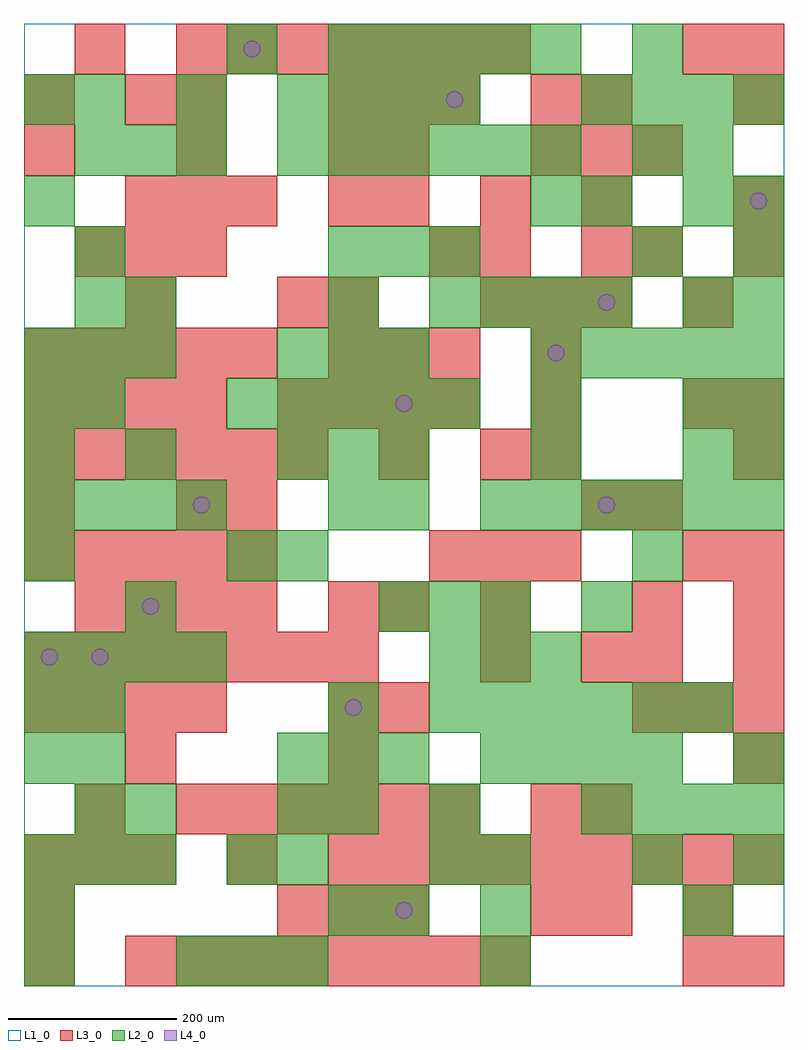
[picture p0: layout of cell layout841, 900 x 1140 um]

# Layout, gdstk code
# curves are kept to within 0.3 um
import gdstk
lib = gdstk.Library(unit=1e-6, precision=1e-09)
def R(c, l, rs):  # rectangles x0, y0, x1, y1
    for r in rs: c.add(gdstk.rectangle(r[:2], r[2:], *l))
def A(c, l, x, y, w, h, nx, ny, dx, dy):  # array of equal rectangles
    R(c, l, [(x+i*dx, y+j*dy, x+i*dx+w, y+j*dy+h) for i in range(nx) for j in range(ny)])
def P(c, l, *ps):  # polygons
    for p in ps: c.add(gdstk.Polygon(p, *l))
L1_0 = (1, 0)
L2_0 = (2, 0)
L3_0 = (3, 0)
L4_0 = (4, 0)

layout841 = lib.new_cell('layout841')
R(layout841, L1_0, [(0,0,900,1140)])
A(layout841, L2_0, 180, 0, 60, 60, 3, 1, 60, 0)
A(layout841, L2_0, 540, 0, 60, 60, 1, 3, 0, 60)
A(layout841, L2_0, 360, 60, 60, 60, 1, 3, 0, 120)
A(layout841, L2_0, 0, 120, 60, 60, 3, 2, 60, 600)
A(layout841, L2_0, 720, 120, 60, 60, 1, 3, 0, 360)
A(layout841, L2_0, 60, 180, 60, 60, 1, 3, 0, 60)
A(layout841, L2_0, 660, 180, 60, 60, 4, 2, 60, 840)
A(layout841, L2_0, 300, 240, 60, 60, 3, 2, 60, 360)
A(layout841, L2_0, 540, 240, 60, 60, 4, 1, 60, 0)
A(layout841, L2_0, 480, 300, 60, 60, 6, 1, 60, 0)
A(layout841, L2_0, 0, 360, 60, 60, 4, 2, 60, 180)
A(layout841, L2_0, 480, 360, 60, 60, 3, 1, 60, 0)
A(layout841, L2_0, 120, 420, 60, 60, 1, 3, 0, 180)
A(layout841, L2_0, 420, 420, 60, 60, 3, 1, 60, 0)
A(layout841, L2_0, 540, 540, 60, 60, 6, 1, 60, 0)
A(layout841, L2_0, 240, 660, 60, 60, 5, 1, 60, 0)
A(layout841, L2_0, 780, 660, 60, 60, 1, 3, 0, 120)
A(layout841, L2_0, 300, 720, 60, 60, 3, 1, 60, 0)
A(layout841, L2_0, 600, 720, 60, 60, 5, 1, 60, 0)
A(layout841, L2_0, 480, 780, 60, 60, 4, 1, 60, 0)
A(layout841, L2_0, 840, 780, 60, 60, 1, 3, 0, 60)
A(layout841, L2_0, 360, 840, 60, 60, 3, 2, 60, 180)
A(layout841, L2_0, 60, 960, 60, 60, 3, 1, 60, 0)
A(layout841, L2_0, 300, 960, 60, 60, 6, 1, 60, 0)
A(layout841, L2_0, 60, 1020, 60, 60, 3, 1, 120, 0)
A(layout841, L2_0, 360, 1080, 60, 60, 5, 1, 60, 0)
R(layout841, L2_0, [(0,0,60,60), (0,60,60,120), (420,60,480,120), (780,60,840,120), (240,120,300,180), (300,120,360,180), (480,120,540,180), (840,120,900,180), (120,180,180,240), (300,180,360,240), (480,180,540,240), (0,240,60,300), (840,240,900,300), (0,300,60,360), (660,420,720,480), (0,480,60,540), (240,480,300,540), (300,480,360,540), (360,540,420,600), (420,540,480,600), (0,600,60,660), (600,600,660,660), (780,600,840,660), (840,600,900,660), (0,660,60,720), (60,660,120,720), (600,660,660,720), (840,660,900,720), (60,780,120,840), (360,780,420,840), (60,840,120,900), (0,900,60,960), (600,900,660,960), (660,900,720,960), (720,960,780,1020), (780,960,840,1020), (0,1020,60,1080), (240,1080,300,1140), (720,1080,780,1140)])
A(layout841, L3_0, 120, 0, 60, 60, 8, 1, 60, 0)
A(layout841, L3_0, 0, 60, 60, 60, 1, 3, 0, 480)
A(layout841, L3_0, 300, 60, 60, 60, 3, 1, 60, 0)
A(layout841, L3_0, 0, 120, 60, 60, 3, 1, 60, 0)
A(layout841, L3_0, 360, 120, 60, 60, 9, 1, 60, 0)
A(layout841, L3_0, 180, 180, 60, 60, 6, 1, 60, 0)
A(layout841, L3_0, 660, 180, 60, 60, 1, 3, 0, 180)
A(layout841, L3_0, 0, 300, 60, 60, 4, 2, 60, 360)
A(layout841, L3_0, 720, 300, 60, 60, 3, 1, 60, 0)
A(layout841, L3_0, 0, 360, 60, 60, 7, 1, 60, 0)
A(layout841, L3_0, 840, 360, 60, 60, 1, 3, 0, 60)
A(layout841, L3_0, 60, 420, 60, 60, 4, 1, 60, 0)
A(layout841, L3_0, 0, 480, 60, 60, 5, 2, 60, 240)
A(layout841, L3_0, 480, 480, 60, 60, 3, 1, 60, 0)
A(layout841, L3_0, 0, 600, 60, 60, 6, 1, 60, 0)
A(layout841, L3_0, 600, 600, 60, 60, 1, 3, 0, 60)
A(layout841, L3_0, 300, 660, 60, 60, 4, 1, 60, 0)
A(layout841, L3_0, 360, 720, 60, 60, 3, 2, 60, 300)
A(layout841, L3_0, 540, 780, 60, 60, 3, 1, 60, 0)
A(layout841, L3_0, 60, 840, 60, 60, 3, 1, 60, 0)
A(layout841, L3_0, 120, 900, 60, 60, 3, 1, 60, 0)
A(layout841, L3_0, 420, 900, 60, 60, 3, 1, 120, 0)
A(layout841, L3_0, 0, 960, 60, 60, 3, 1, 180, 0)
A(layout841, L3_0, 600, 960, 60, 60, 3, 1, 60, 0)
A(layout841, L3_0, 180, 1080, 60, 60, 7, 1, 60, 0)
R(layout841, L3_0, [(0,0,60,60), (780,0,840,60), (840,0,900,60), (600,60,660,120), (660,60,720,120), (780,60,840,120), (240,120,300,180), (60,180,120,240), (600,180,660,240), (120,240,180,300), (360,240,420,300), (840,240,900,300), (360,300,420,360), (420,300,480,360), (540,360,600,420), (720,360,780,420), (360,420,420,480), (420,420,480,480), (540,420,600,480), (720,420,780,480), (780,480,840,540), (180,540,240,600), (240,540,300,600), (720,540,780,600), (420,600,480,660), (540,600,600,660), (840,600,900,660), (780,660,840,720), (840,660,900,720), (120,780,180,840), (300,780,360,840), (360,780,420,840), (780,780,840,840), (480,840,540,900), (540,840,600,900), (660,840,720,900), (720,840,780,900), (840,840,900,900), (360,900,420,960), (840,900,900,960), (420,960,480,1020), (120,1020,180,1080), (180,1020,240,1080), (600,1020,660,1080), (660,1020,720,1080), (840,1020,900,1080), (60,1080,120,1140), (780,1080,840,1140), (840,1080,900,1140)])
P(layout841, L4_0, [(40,390),(39.239,393.827),(37.071,397.071),(33.827,399.239),(30,400),(26.173,399.239),(22.929,397.071),(20.761,393.827),(20,390),(20.761,386.173),(22.929,382.929),(26.173,380.761),(30,380),(33.827,380.761),(37.071,382.929),(39.239,386.173)],
  [(100,390),(99.239,393.827),(97.071,397.071),(93.827,399.239),(90,400),(86.173,399.239),(82.929,397.071),(80.761,393.827),(80,390),(80.761,386.173),(82.929,382.929),(86.173,380.761),(90,380),(93.827,380.761),(97.071,382.929),(99.239,386.173)],
  [(160,450),(159.239,453.827),(157.071,457.071),(153.827,459.239),(150,460),(146.173,459.239),(142.929,457.071),(140.761,453.827),(140,450),(140.761,446.173),(142.929,442.929),(146.173,440.761),(150,440),(153.827,440.761),(157.071,442.929),(159.239,446.173)],
  [(220,570),(219.239,573.827),(217.071,577.071),(213.827,579.239),(210,580),(206.173,579.239),(202.929,577.071),(200.761,573.827),(200,570),(200.761,566.173),(202.929,562.929),(206.173,560.761),(210,560),(213.827,560.761),(217.071,562.929),(219.239,566.173)],
  [(280,1110),(279.239,1113.827),(277.071,1117.071),(273.827,1119.239),(270,1120),(266.173,1119.239),(262.929,1117.071),(260.761,1113.827),(260,1110),(260.761,1106.173),(262.929,1102.929),(266.173,1100.761),(270,1100),(273.827,1100.761),(277.071,1102.929),(279.239,1106.173)],
  [(400,330),(399.239,333.827),(397.071,337.071),(393.827,339.239),(390,340),(386.173,339.239),(382.929,337.071),(380.761,333.827),(380,330),(380.761,326.173),(382.929,322.929),(386.173,320.761),(390,320),(393.827,320.761),(397.071,322.929),(399.239,326.173)],
  [(460,90),(459.239,93.827),(457.071,97.071),(453.827,99.239),(450,100),(446.173,99.239),(442.929,97.071),(440.761,93.827),(440,90),(440.761,86.173),(442.929,82.929),(446.173,80.761),(450,80),(453.827,80.761),(457.071,82.929),(459.239,86.173)],
  [(460,690),(459.239,693.827),(457.071,697.071),(453.827,699.239),(450,700),(446.173,699.239),(442.929,697.071),(440.761,693.827),(440,690),(440.761,686.173),(442.929,682.929),(446.173,680.761),(450,680),(453.827,680.761),(457.071,682.929),(459.239,686.173)],
  [(520,1050),(519.239,1053.827),(517.071,1057.071),(513.827,1059.239),(510,1060),(506.173,1059.239),(502.929,1057.071),(500.761,1053.827),(500,1050),(500.761,1046.173),(502.929,1042.929),(506.173,1040.761),(510,1040),(513.827,1040.761),(517.071,1042.929),(519.239,1046.173)],
  [(640,750),(639.239,753.827),(637.071,757.071),(633.827,759.239),(630,760),(626.173,759.239),(622.929,757.071),(620.761,753.827),(620,750),(620.761,746.173),(622.929,742.929),(626.173,740.761),(630,740),(633.827,740.761),(637.071,742.929),(639.239,746.173)],
  [(700,570),(699.239,573.827),(697.071,577.071),(693.827,579.239),(690,580),(686.173,579.239),(682.929,577.071),(680.761,573.827),(680,570),(680.761,566.173),(682.929,562.929),(686.173,560.761),(690,560),(693.827,560.761),(697.071,562.929),(699.239,566.173)],
  [(700,810),(699.239,813.827),(697.071,817.071),(693.827,819.239),(690,820),(686.173,819.239),(682.929,817.071),(680.761,813.827),(680,810),(680.761,806.173),(682.929,802.929),(686.173,800.761),(690,800),(693.827,800.761),(697.071,802.929),(699.239,806.173)],
  [(880,930),(879.239,933.827),(877.071,937.071),(873.827,939.239),(870,940),(866.173,939.239),(862.929,937.071),(860.761,933.827),(860,930),(860.761,926.173),(862.929,922.929),(866.173,920.761),(870,920),(873.827,920.761),(877.071,922.929),(879.239,926.173)])

lib.write_gds('layout841.gds')
